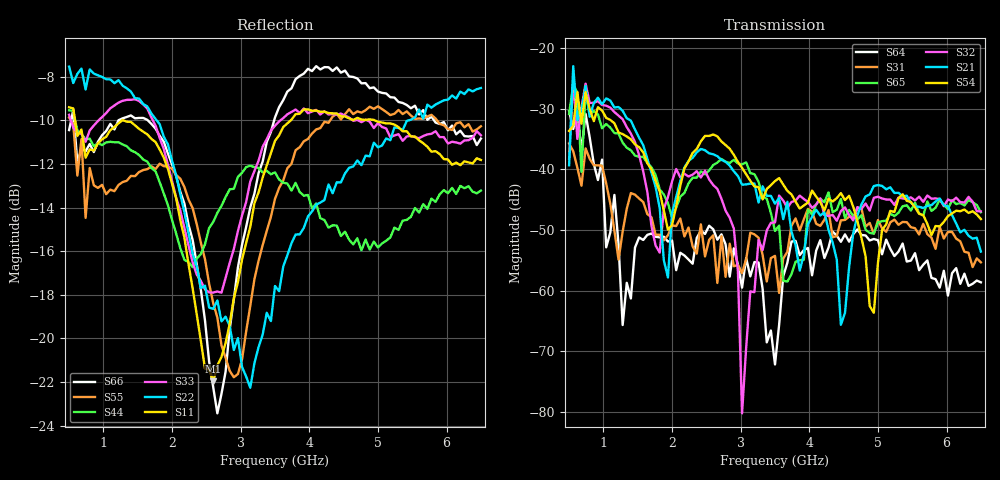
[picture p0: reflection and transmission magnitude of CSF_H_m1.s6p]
!Keysight Technologies,M9804A,MY58100912,A.14.10.03
!Date: Thursday, April 27, 2023 10:28:33
!Correction: S11(C  6-Port  )
!S12(C  6-Port  )
!S13(C  6-Port  )
!S14(C  6-Port  )
!S15(C  6-Port  )
!S16(C  6-Port  )
!S21(C  6-Port  )
!S22(C  6-Port  )
!S23(C  6-Port  )
!S24(C  6-Port  )
!S25(C  6-Port  )
!S26(C  6-Port  )
!S31(C  6-Port  )
!S32(C  6-Port  )
!S33(C  6-Port  )
!S34(C  6-Port  )
!S35(C  6-Port  )
!S36(C  6-Port  )
!S41(C  6-Port  )
!S42(C  6-Port  )
!S43(C  6-Port  )
!S44(C  6-Port  )
!S45(C  6-Port  )
!S46(C  6-Port  )
!S51(C  6-Port  )
!S52(C  6-Port  )
!S53(C  6-Port  )
!S54(C  6-Port  )
!S55(C  6-Port  )
!S56(C  6-Port  )
!S61(C  6-Port  )
!S62(C  6-Port  )
!S63(C  6-Port  )
!S64(C  6-Port  )
!S65(C  6-Port  )
!S66(C  6-Port  )
!S6P File: Measurement: :
# Hz S  RI  R 50
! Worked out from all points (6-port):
!   101 points, 500 MHz to 6.5 GHz, reference 50 ohm
!   strongest paths, dB at 500 MHz, 2 GHz, 3.5 GHz, 5 GHz, 6.5 GHz:
!     S54: -33.6, -49.2, -41.9, -55.4, -48.2
!     S21: -39.3, -47.2, -45.6, -42.6, -53.6
!     S32: -38.2, -42.0, -48.7, -44.5, -46.9
!     S65: -30.8, -48.0, -50.1, -48.7, -47.1
!     S31: -35.7, -49.3, -54.3, -48.4, -55.3
!     S64: -30.4, -51.7, -72.2, -51.7, -58.6
!   lowest |S11| = -22.0 dB at 2.6 GHz (marker M1), VSWR 1.17, Z = 42.8 + j1.89 ohm
!   |S11| at or under -10 dB: 585.9 MHz to 1.275 GHz (689.5 MHz wide, 74.1 % of centre); 1.289 GHz to 3.73 GHz (2.441 GHz wide, 97.3 % of centre); 4.953 GHz to end of sweep
